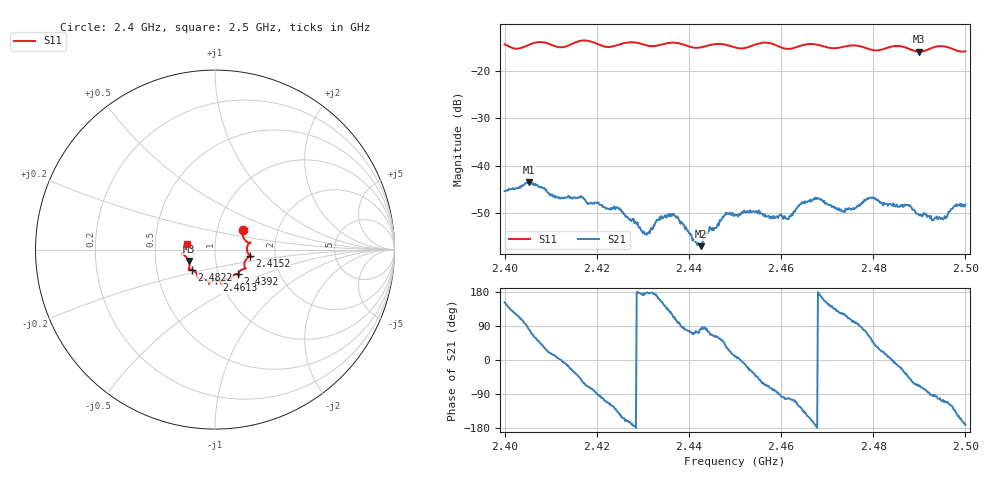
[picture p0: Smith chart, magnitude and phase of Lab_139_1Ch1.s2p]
# Hz S RI R 50
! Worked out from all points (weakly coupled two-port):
!   601 points, 2.4 GHz to 2.5 GHz, reference 50 ohm
!   highest |S21| = -43.43 dB at 2.4053 GHz (marker M1); lowest = -57.0 dB at 2.4427 GHz (marker M2)
!   lowest |S11| = -15.9 dB at 2.49 GHz (marker M3), VSWR 1.38, Z = 36.9 - j4.83 ohm
!   |S11| at or under -10 dB: start of sweep to end of sweep
!   S12 and S22 are empty: the file has one direction only
!   S11 on the Smith chart (normalised r, x): 2.4 GHz: 1.33, +0.31; 2.4152 GHz: 1.48, -0.11; 2.4392 GHz: 1.24, -0.35; 2.4613 GHz: 0.96, -0.34; 2.4822 GHz: 0.76, -0.17; 2.5 GHz: 0.73, +0.05
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2.4e9  0.1557 0.1112  -0.00479 0.00253  0 0  0 0
2.405333e9  0.1854 0.0388  0.00112 0.00664  0 0  0 0
2.415167e9  0.1953 -0.0362  0.0039 -0.00254  0 0  0 0
2.416667e9  0.2049 -0.0423  0.00281 -0.00368  0 0  0 0
2.424833e9  0.165 -0.0949  -0.00272 -0.00219  0 0  0 0
2.4305e9  0.1523 -0.1104  -0.00189 0.000132  0 0  0 0
2.433333e9  0.1318 -0.1319  -0.00257 0.000819  0 0  0 0
2.436667e9  0.1352 -0.1463  -0.00117 0.0029  0 0  0 0
2.439167e9  0.1271 -0.1378  0.00035 0.00213  0 0  0 0
2.442667e9  0.0931 -0.1512  0.000215 0.0014  0 0  0 0
2.447833e9  0.0847 -0.17  0.00233 0.00194  0 0  0 0
2.45e9  0.0692 -0.1634  0.00304 0.000476  0 0  0 0
2.456667e9  0.0397 -0.1956  0.00119 -0.00266  0 0  0 0
2.461333e9  0.00736 -0.1712  -0.000594 -0.0027  0 0  0 0
2.466667e9  -0.0337 -0.1901  -0.00403 -0.00151  0 0  0 0
2.473333e9  -0.0807 -0.1602  -0.00179 0.00277  0 0  0 0
2.479167e9  -0.1016 -0.1361  0.00223 0.00403  0 0  0 0
2.482167e9  -0.1281 -0.1117  0.00354 0.00144  0 0  0 0
2.483333e9  -0.1393 -0.1101  0.00392 0.000601  0 0  0 0
2.49e9  -0.1467 -0.0637  0.00107 -0.0028  0 0  0 0
2.495333e9  -0.1811 -0.0201  -0.000994 -0.00259  0 0  0 0
2.5e9  -0.1583 0.0338  -0.00385 -0.000603  0 0  0 0
